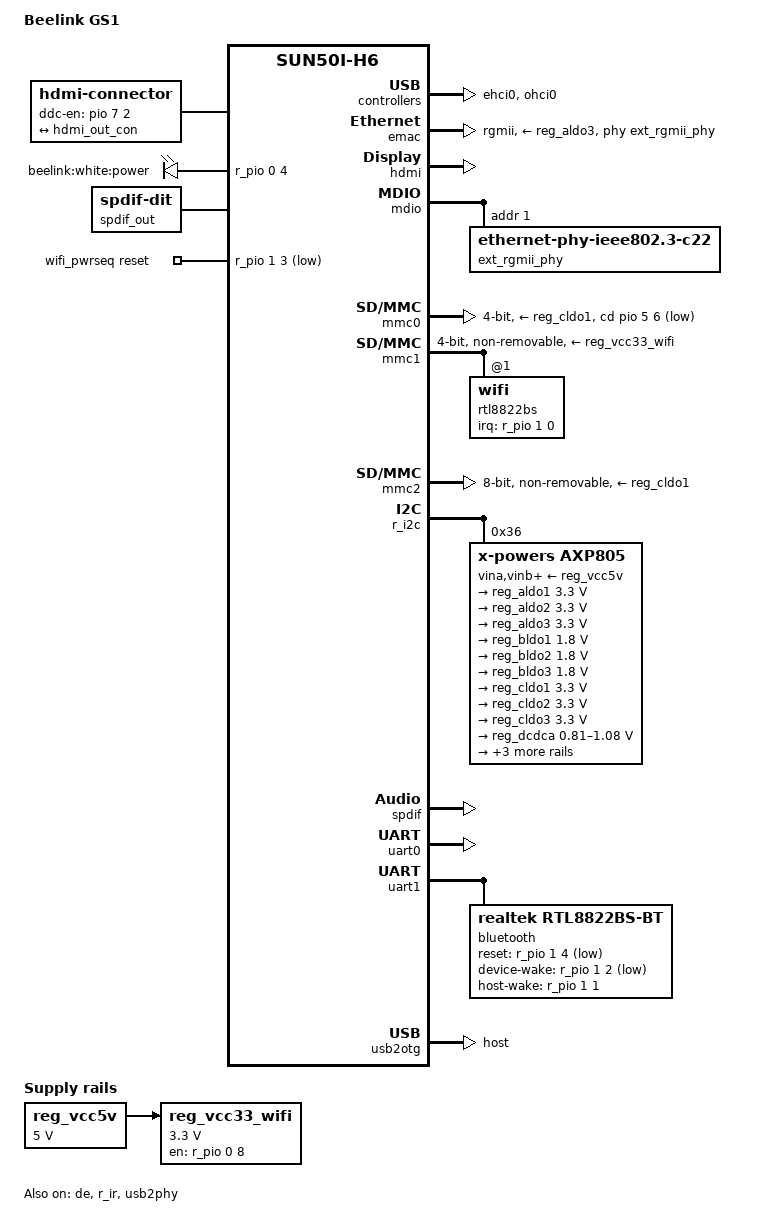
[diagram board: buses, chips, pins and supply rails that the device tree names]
// SPDX-License-Identifier: (GPL-2.0+ or MIT)
/*
 * Copyright (C) 2019 Clément Péron <peron.clem@gmail.com>
 */

/dts-v1/;

#include "sun50i-h6.dtsi"

#include <dt-bindings/gpio/gpio.h>

/ {
	model = "Beelink GS1";
	compatible = "azw,beelink-gs1", "allwinner,sun50i-h6";

	aliases {
		ethernet0 = &emac;
		serial0 = &uart0;
	};

	chosen {
		stdout-path = "serial0:115200n8";
	};

	connector {
		compatible = "hdmi-connector";
		type = "a";
		ddc-en-gpios = <&pio 7 2 GPIO_ACTIVE_HIGH>; /* PH2 */

		port {
			hdmi_con_in: endpoint {
				remote-endpoint = <&hdmi_out_con>;
			};
		};
	};

	leds {
		compatible = "gpio-leds";

		power {
			label = "beelink:white:power";
			gpios = <&r_pio 0 4 GPIO_ACTIVE_HIGH>; /* PL4 */
			default-state = "on";
		};
	};

	reg_vcc33_wifi: vcc33-wifi {
		/* Always on 3.3V regulator for WiFi and BT */
		compatible = "regulator-fixed";
		regulator-name = "vcc33-wifi";
		regulator-min-microvolt = <3300000>;
		regulator-max-microvolt = <3300000>;
		vin-supply = <&reg_vcc5v>;
		startup-delay-us = <100000>;
		gpio = <&r_pio 0 8 GPIO_ACTIVE_HIGH>; /* PL8 */
		enable-active-high;
	};

	reg_vcc5v: vcc5v {
		/* board wide 5V supply directly from the DC jack */
		compatible = "regulator-fixed";
		regulator-name = "vcc-5v";
		regulator-min-microvolt = <5000000>;
		regulator-max-microvolt = <5000000>;
		regulator-always-on;
	};

	sound-spdif {
		compatible = "simple-audio-card";
		simple-audio-card,name = "sun50i-h6-spdif";

		simple-audio-card,cpu {
			sound-dai = <&spdif>;
		};

		simple-audio-card,codec {
			sound-dai = <&spdif_out>;
		};
	};

	spdif_out: spdif-out {
		#sound-dai-cells = <0>;
		compatible = "linux,spdif-dit";
	};

	wifi_pwrseq: wifi-pwrseq {
		compatible = "mmc-pwrseq-simple";
		clocks = <&rtc 1>;
		clock-names = "ext_clock";
		reset-gpios = <&r_pio 1 3 GPIO_ACTIVE_LOW>; /* PM3 */
		post-power-on-delay-ms = <200>;
	};
};

&de {
	status = "okay";
};

&ehci0 {
	status = "okay";
};

&emac {
	pinctrl-names = "default";
	pinctrl-0 = <&ext_rgmii_pins>;
	phy-mode = "rgmii";
	phy-handle = <&ext_rgmii_phy>;
	phy-supply = <&reg_aldo3>;
	status = "okay";
};

&hdmi {
	status = "okay";
};

&hdmi_out {
	hdmi_out_con: endpoint {
		remote-endpoint = <&hdmi_con_in>;
	};
};

&mdio {
	ext_rgmii_phy: ethernet-phy@1 {
		compatible = "ethernet-phy-ieee802.3-c22";
		reg = <1>;
	};
};

&mmc0 {
	vmmc-supply = <&reg_cldo1>;
	cd-gpios = <&pio 5 6 GPIO_ACTIVE_LOW>;
	bus-width = <4>;
	status = "okay";
};

&mmc1 {
	vmmc-supply = <&reg_vcc33_wifi>;
	vqmmc-supply = <&reg_bldo3>;
	mmc-pwrseq = <&wifi_pwrseq>;
	bus-width = <4>;
	non-removable;
	status = "okay";

	rtl8822bs: wifi@1 {
		reg = <1>;
		interrupt-parent = <&r_pio>;
		interrupts = <1 0 IRQ_TYPE_LEVEL_LOW>; /* PM0 */
		interrupt-names = "host-wake";
	};
};

&mmc2 {
	vmmc-supply = <&reg_cldo1>;
	vqmmc-supply = <&reg_bldo2>;
	non-removable;
	cap-mmc-hw-reset;
	bus-width = <8>;
	status = "okay";
};

&ohci0 {
	status = "okay";
};

&pio {
	vcc-pc-supply = <&reg_bldo2>;
	vcc-pd-supply = <&reg_cldo1>;
	vcc-pg-supply = <&reg_bldo3>;
};

&r_i2c {
	status = "okay";

	axp805: pmic@36 {
		compatible = "x-powers,axp805", "x-powers,axp806";
		reg = <0x36>;
		interrupt-parent = <&r_intc>;
		interrupts = <0 IRQ_TYPE_LEVEL_LOW>;
		interrupt-controller;
		#interrupt-cells = <1>;
		x-powers,self-working-mode;
		vina-supply = <&reg_vcc5v>;
		vinb-supply = <&reg_vcc5v>;
		vinc-supply = <&reg_vcc5v>;
		vind-supply = <&reg_vcc5v>;
		vine-supply = <&reg_vcc5v>;
		aldoin-supply = <&reg_vcc5v>;
		bldoin-supply = <&reg_vcc5v>;
		cldoin-supply = <&reg_vcc5v>;

		regulators {
			reg_aldo1: aldo1 {
				regulator-always-on;
				regulator-min-microvolt = <3300000>;
				regulator-max-microvolt = <3300000>;
				regulator-name = "vcc-pl";
			};

			reg_aldo2: aldo2 {
				regulator-min-microvolt = <3300000>;
				regulator-max-microvolt = <3300000>;
				regulator-name = "vcc-ac200";
				regulator-enable-ramp-delay = <100000>;
			};

			reg_aldo3: aldo3 {
				regulator-min-microvolt = <3300000>;
				regulator-max-microvolt = <3300000>;
				regulator-name = "vcc-gmac";
			};

			reg_bldo1: bldo1 {
				regulator-always-on;
				regulator-min-microvolt = <1800000>;
				regulator-max-microvolt = <1800000>;
				regulator-name = "vcc-bias-pll";
			};

			reg_bldo2: bldo2 {
				regulator-always-on;
				regulator-min-microvolt = <1800000>;
				regulator-max-microvolt = <1800000>;
				regulator-name = "vcc-efuse-pcie-hdmi-io";
			};

			reg_bldo3: bldo3 {
				regulator-always-on;
				regulator-min-microvolt = <1800000>;
				regulator-max-microvolt = <1800000>;
				regulator-name = "vcc-dcxoio";
			};

			bldo4 {
				/* unused */
			};

			reg_cldo1: cldo1 {
				regulator-always-on;
				regulator-min-microvolt = <3300000>;
				regulator-max-microvolt = <3300000>;
				regulator-name = "vcc-3v3";
			};

			reg_cldo2: cldo2 {
				regulator-always-on;
				regulator-min-microvolt = <3300000>;
				regulator-max-microvolt = <3300000>;
				regulator-name = "vcc-wifi-1";
			};

			reg_cldo3: cldo3 {
				regulator-always-on;
				regulator-min-microvolt = <3300000>;
				regulator-max-microvolt = <3300000>;
				regulator-name = "vcc-wifi-2";
			};

			reg_dcdca: dcdca {
				regulator-always-on;
				regulator-min-microvolt = <810000>;
				regulator-max-microvolt = <1080000>;
				regulator-name = "vdd-cpu";
			};

			reg_dcdcc: dcdcc {
				regulator-min-microvolt = <810000>;
				regulator-max-microvolt = <1080000>;
				regulator-name = "vdd-gpu";
			};

			reg_dcdcd: dcdcd {
				regulator-always-on;
				regulator-min-microvolt = <960000>;
				regulator-max-microvolt = <960000>;
				regulator-name = "vdd-sys";
			};

			reg_dcdce: dcdce {
				regulator-always-on;
				regulator-min-microvolt = <1200000>;
				regulator-max-microvolt = <1200000>;
				regulator-name = "vcc-dram";
			};

			sw {
				/* unused */
			};
		};
	};
};

&r_ir {
	status = "okay";
};

&r_pio {
	/*
	 * PL0 and PL1 are used for PMIC I2C
	 * don't enable the pl-supply else
	 * it will fail at boot
	 *
	 * vcc-pl-supply = <&reg_aldo1>;
	 */
	vcc-pm-supply = <&reg_aldo1>;
};

&spdif {
	status = "okay";
};

&uart0 {
	pinctrl-names = "default";
	pinctrl-0 = <&uart0_ph_pins>;
	status = "okay";
};

&uart1 {
	pinctrl-names = "default";
	pinctrl-0 = <&uart1_pg_pins>, <&uart1_rts_cts_pins>;
	status = "okay";

	bluetooth {
		compatible = "realtek,rtl8822bs-bt";
		reset-gpios = <&r_pio 1 4 GPIO_ACTIVE_LOW>; /* PM4 */
		device-wake-gpios = <&r_pio 1 2 GPIO_ACTIVE_LOW>; /* PM2 */
		host-wake-gpios = <&r_pio 1 1 GPIO_ACTIVE_HIGH>; /* PM1 */
		firmware-postfix = "pinebook";
	};
};

&usb2otg {
	dr_mode = "host";
	status = "okay";
};

&usb2phy {
	usb0_vbus-supply = <&reg_vcc5v>;
	status = "okay";
};
